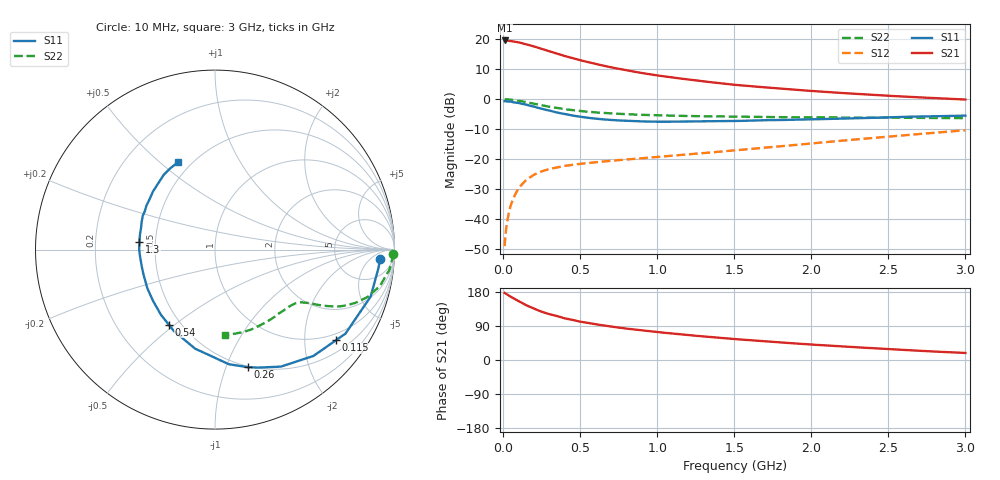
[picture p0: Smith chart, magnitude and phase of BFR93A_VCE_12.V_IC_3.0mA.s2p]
! Infineon Technologies  Discrete & RF Semiconductors
! BFR93A
! VCE =  12. V,  IC =  3.0 mA
! Common Emitter S-Parameters:  Nov 2015
# GHz  S  MA  R  50
!  f  S11  S21  S12  S22
! GHz  MAG  ANG  MAG  ANG  MAG  ANG  MAG  ANG
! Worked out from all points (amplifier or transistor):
!   180 points, 10 MHz to 3 GHz, reference 50 ohm
!   highest |S21| = 19.6 dB at 10 MHz (marker M1)
!   |S21| within 3 dB of that: start of sweep to 262.9 MHz
!   unconditionally stable (mu >= 1): 898.4 MHz to 2.484 GHz
!   at 160 MHz: K = 0.25, MSG = 22.4 dB, |S12| = -26.7 dB
!   at 1.22 GHz: K = 1.11, MAG = 10.4 dB, |S12| = -18.4 dB
!   at 3 GHz: K = 0.91, MSG = 5.1 dB, |S12| = -10.4 dB
!   S11 on the Smith chart (normalised r, x): 10 MHz: 16, -12; 115 MHz: 0.80, -2.79; 260 MHz: 0.49, -1.19; 540 MHz: 0.43, -0.48; 1.3 GHz: 0.41, +0.04; 3 GHz: 0.43, +0.57
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0.01  0.9215 -3.4  9.506 177.1  0.0035 86.1  0.9933 -1.4
0.025  0.9123 -8.4  9.448 173.3  0.0085 83.8  0.9882 -3.3
0.045  0.9055 -15.1  9.343 168.2  0.0151 80.7  0.98 -5.9
0.1  0.8646 -32.8  8.867 155.5  0.0321 72.4  0.9406 -12.5
0.115  0.842 -36.9  8.642 152.4  0.0358 69.6  0.9245 -13.9
0.15  0.8074 -47.2  8.222 144.6  0.0445 65.0  0.8891 -17.3
0.2  0.7483 -60.6  7.558 135.5  0.0544 59.6  0.8366 -20.8
0.26  0.6795 -74.5  6.766 126.2  0.0632 54.5  0.7779 -23.8
0.3  0.6434 -83.1  6.28 121.0  0.0679 52.1  0.7436 -25.3
0.4  0.5632 -101.3  5.229 109.9  0.0766 48.2  0.6767 -27.5
0.5  0.5085 -116.7  4.444 101.2  0.0829 46.2  0.6306 -28.8
0.52  0.4992 -119.1  4.321 100.0  0.084 46.1  0.6241 -29.0
0.54  0.4908 -121.7  4.2 98.6  0.085 46.0  0.6177 -29.2
0.6  0.4718 -129.7  3.851 94.2  0.0882 45.8  0.5984 -29.8
0.7  0.4479 -140.5  3.385 88.1  0.0932 46.2  0.5754 -30.8
0.8  0.4343 -150.2  3.017 82.8  0.0977 47.1  0.5588 -31.7
1.02  0.4184 -168.2  2.439 73.0  0.1089 49.6  0.5344 -34.5
1.3  0.4238 174.0  1.974 62.1  0.1252 53.1  0.5161 -39.2
1.52  0.4304 162.8  1.713 54.7  0.1405 55.8  0.5064 -43.4
2.02  0.4593 142.8  1.354 40.3  0.1834 59.3  0.4943 -54.9
2.52  0.4967 126.9  1.128 28.5  0.2384 59.4  0.487 -68.3
3  0.5285 113.1  0.981 18.6  0.3016 56.7  0.4805 -83.5
